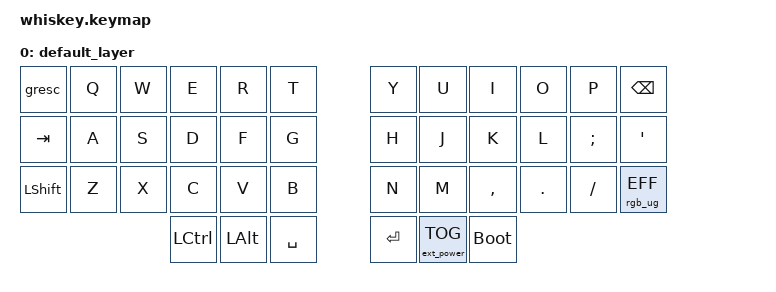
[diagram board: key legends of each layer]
/*
 * Copyright (c) 2021 KnoblesseOblige
 *
 * SPDX-License-Identifier: MIT
 */

#include <behaviors.dtsi>
#include <dt-bindings/zmk/keys.h>
#include <dt-bindings/zmk/rgb.h>
#include <dt-bindings/zmk/bt.h>
#include <dt-bindings/zmk/ext_power.h>

/ {
	keymap {
		compatible = "zmk,keymap";

		default_layer {
// ------------------------------------------------------------------------------------------
// | ESC |  1  |  2  |  3  |  4  |  5  |  6  |  7  |  8  |  9  |  0  |  -  |  =  |   BKSP   |
// | TAB  |  Q  |  W  |  E  |  R  |  T  |  Y  |  U  |  I  |  O  |  P  |  [  |  ]  |   "|"   |
// | CAPS  |  A  |  S  |  D  |  F  |  G  |  H  |  J  |  K  |  L  |  ;  |  '  |     ENTER    |
// |  SHIFT  |  Z  |  X  |  C  |  V  |  B  |  N  |  M  |  ,  |  .  |  /  |      SHIFT       |
// |  CTL  |  WIN  |  ALT  |            SPACE              |  ALT  |  WIN  |  MO(1) |  CTL  |
// ------------------------------------------------------------------------------------------
			bindings = <
	&gresc  &kp Q  &kp W  &kp E  &kp R  &kp T  &kp Y  &kp U  &kp I  &kp O  &kp P  &kp BSPC
	&kp TAB  &kp A  &kp S  &kp D  &kp F  &kp G  &kp H  &kp J  &kp K  &kp L  &kp SEMI  &kp SQT
	&kp LSHFT  &kp Z  &kp X  &kp C  &kp V  &kp B  &kp N  &kp M  &kp COMMA &kp DOT  &kp FSLH  &rgb_ug RGB_EFF
	&kp LCTRL  &kp LALT  &kp SPACE  &kp RET  &ext_power EP_TOG  &bootloader
			>;
		};
	};
};
